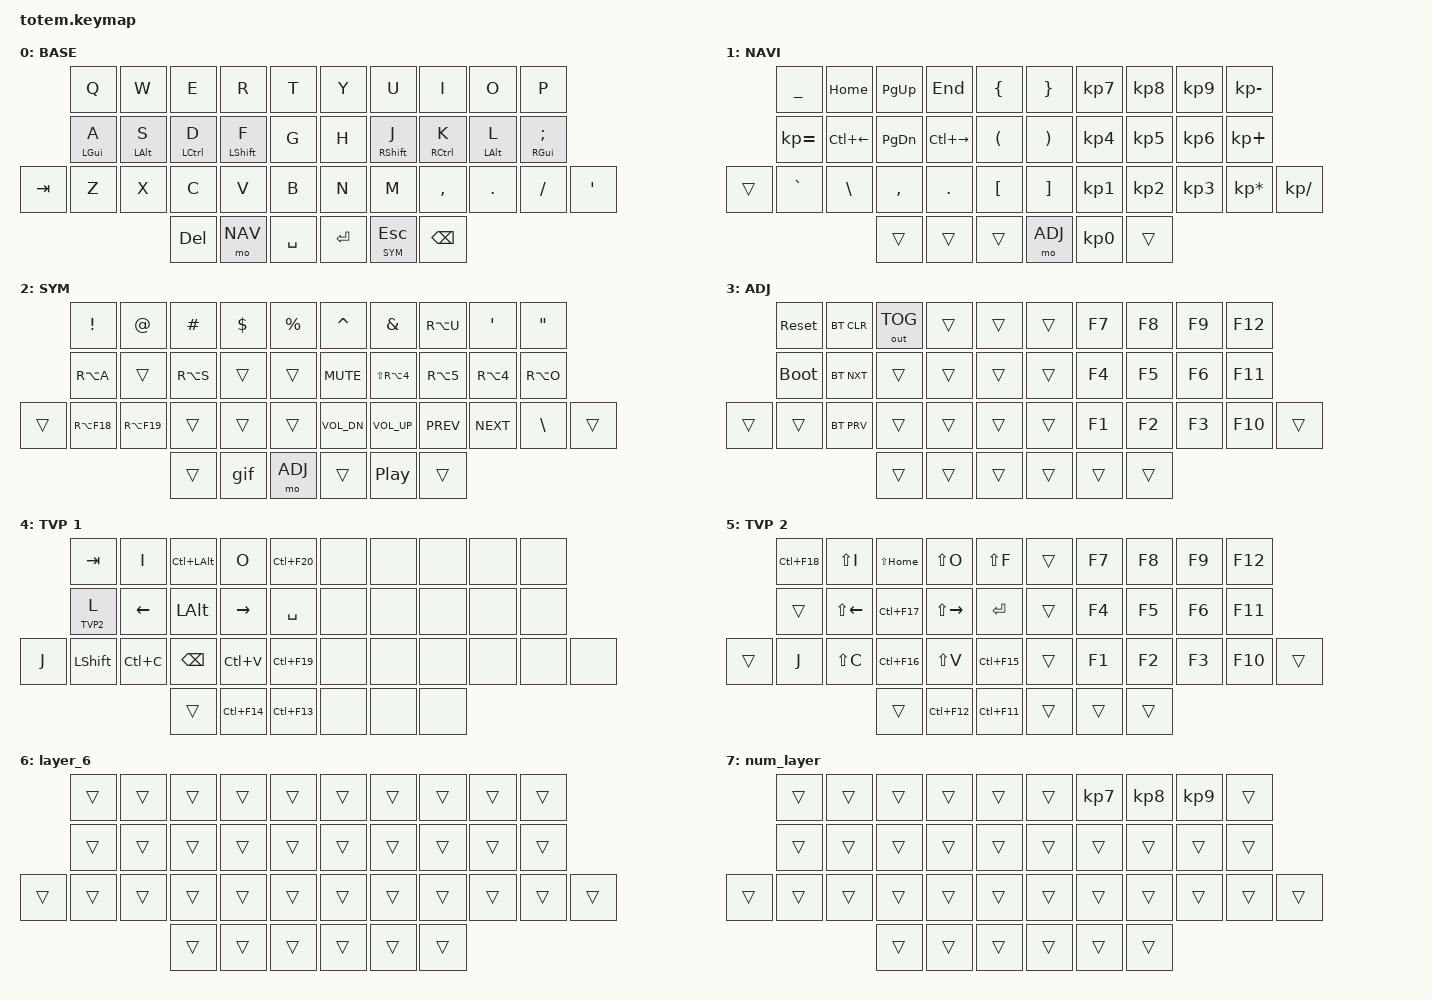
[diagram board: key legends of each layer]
//
//                                                        ▀▀▀▀▀     ▀▀▀▀▀          ▀▀█▀▀
//                                                        ▄▀▀▀▄  ▄  ▄▀▀▀▄  ▄  ▄▀▀▀▄  █  ▄▀▀▀▄
//                                                        █   █  █  █   █  █  █   █  █  █   █
//                                                         ▀▀▀   █   ▀▀▀   █   ▀▀▀   ▀   ▀▀▀
//                                                               █      ▄▄▄█▄▄▄    █   █  
//                                                               ▀      █  █  █     █▄█
//                                                             ▀▀▀▀▀    █  █  █      ▀
//                                                                      ▀  ▀  ▀
//
// ▄▄▄▄▄▄▄▄▄▄▄▄▄▄▄▄▄▄▄▄▄▄▄▄▄▄▄▄▄▄▄▄▄▄▄▄▄▄▄▄▄▄▄▄▄▄▄▄▄▄▄▄▄▄▄▄▄▄▄▄▄▄▄▄▄▄▄▄▄▄▄▄▄▄▄▄▄▄▄▄▄▄▄▄▄▄▄▄▄▄▄▄▄▄▄▄▄▄▄▄▄▄▄▄▄▄▄▄▄▄▄▄▄▄▄▄▄▄▄▄▄▄▄▄▄▄▄▄▄▄▄▄▄▄▄▄▄▄▄▄▄▄▄▄▄▄▄▄▄

#include <behaviors.dtsi>
#include <dt-bindings/zmk/bt.h>
#include <dt-bindings/zmk/keys.h>
#include <dt-bindings/zmk/outputs.h>

#define BASE 0
#define NAV  1
#define SYM  2
#define ADJ  3
#define TVP1 4
#define TVP2 5

&mt {
    quick-tap-ms = <100>;
    global-quick-tap;
    flavor = "tap-preferred";
    tapping-term-ms = <170>;
};

/ {
    combos {
        compatible = "zmk,combos";

        combo_esc {
            timeout-ms = <50>;
            key-positions = <11 12 13>;
            bindings = <&kp ESC>;
        };

        combo_ret {
            bindings = <&kp RET>;
            key-positions = <16 17 18>;
            timeout-ms = <50>;
        };

        combo_del {
            bindings = <&kp DELETE>;
            key-positions = <1 2 3>;
            timeout-ms = <50>;
        };
    };

    macros {
        gif: gif {
            label = "giphy";
            compatible = "zmk,behavior-macro";
            #binding-cells = <0>;
            bindings =
                <&macro_press>,
                <&kp LSHFT>,
                <&macro_tap>,
                <&kp N2>,
                <&macro_release>,
                <&kp LSHFT>,
                <&macro_tap>,
                <&kp G &kp I &kp F>;
        };
    };

    keymap {
        compatible = "zmk,keymap";

        // ▄▄▄▄▄▄▄▄▄▄▄▄▄▄▄▄▄▄▄▄▄▄▄▄▄▄▄▄▄▄▄▄▄▄▄▄▄▄▄▄▄▄▄▄▄▄▄▄▄▄▄▄▄▄▄▄▄▄▄▄▄▄▄▄▄▄▄▄▄▄▄▄▄▄▄▄▄▄▄▄▄▄▄▄▄▄▄▄▄▄▄▄▄▄▄▄▄▄▄▄▄▄▄▄▄▄▄▄▄▄▄▄▄▄▄▄▄▄▄▄▄▄▄▄▄▄▄▄▄▄▄▄▄▄▄▄▄▄▄▄▄▄▄▄▄▄▄▄▄

        base_layer {
            // ┏━━━━━━━━━━━━━━━━━━━━━━━━━━━━━━━━━━━━━━━┓

            label = "BASE";

            // ┗━━━━━━━━━━━━━━━━━━━━━━━━━━━━━━━━━━━━━━━┛
            //             ┏━━━━━━━━━━━┳━━━━━━━━━━━┳━━━━━━━━━━━┳━━━━━━━━━━━┳━━━━━━━━━━━┓   ┏━━━━━━━━━━━┳━━━━━━━━━━━┳━━━━━━━━━━━┳━━━━━━━━━━━┳━━━━━━━━━━━┓
            //             ┃     Q     ┃     W     ┃     F     ┃     P     ┃     G     ┃   ┃     J     ┃     L     ┃     U     ┃     Y     ┃     ;     ┃
            //             ┣━━━━━━━━━━━╋━━━━━━━━━━━╋━━━━━━━━━━━╋━━━━━━━━━━━╋━━━━━━━━━━━┫   ┣━━━━━━━━━━━╋━━━━━━━━━━━╋━━━━━━━━━━━╋━━━━━━━━━━━╋━━━━━━━━━━━┫
            //             ┃     A     ┃     R     ┃     S     ┃     T     ┃     D     ┃   ┃     H     ┃     N     ┃     E     ┃     I     ┃     O     ┃
            // ┏━━━━━━━━━━━╋━━━━━━━━━━━╋━━━━━━━━━━━╋━━━━━━━━━━━╋━━━━━━━━━━━╋━━━━━━━━━━━┫   ┣━━━━━━━━━━━╋━━━━━━━━━━━╋━━━━━━━━━━━╋━━━━━━━━━━━╋━━━━━━━━━━━╋━━━━━━━━━━━┓
            // ┃     Q     ┃     Z     ┃     X     ┃     C     ┃     V     ┃     B     ┃   ┃     K     ┃     M     ┃     ,     ┃     .     ┃     /     ┃     \     ┃
            // ┗━━━━━━━━━━━┻━━━━━━━━━━━┻━━━━━━━━━━━╋━━━━━━━━━━━╋━━━━━━━━━━━╋━━━━━━━━━━━┫   ┣━━━━━━━━━━━╋━━━━━━━━━━━╋━━━━━━━━━━━╋━━━━━━━━━━━┻━━━━━━━━━━━┻━━━━━━━━━━━┛
            //                                     ┃    DEL    ┃    TAB    ┃    SPC    ┃   ┃   ENTER   ┃           ┃   BSPC    ┃
            //                                     ┗━━━━━━━━━━━┻━━━━━━━━━━━┻━━━━━━━━━━━┛   ┗━━━━━━━━━━━┻━━━━━━━━━━━┻━━━━━━━━━━━┛

            bindings = <
         &kp Q       &kp W       &kp E        &kp R        &kp T        &kp Y    &kp U        &kp I        &kp O           &kp P
         &mt LGUI A  &mt LALT S  &mt LCTRL D  &mt LSHFT F  &kp G        &kp H    &mt RSHFT J  &mt RCTRL K  &mt LEFT_ALT L  &mt RGUI SEMICOLON
&kp TAB  &kp Z       &kp X       &kp C        &kp V        &kp B        &kp N    &kp M        &kp COMMA    &kp DOT         &kp FSLH            &kp APOS
                                 &kp DEL      &mo NAV      &kp SPACE    &kp RET  &lt SYM ESC  &kp BSPC
            >;
        };

        // ▄▄▄▄▄▄▄▄▄▄▄▄▄▄▄▄▄▄▄▄▄▄▄▄▄▄▄▄▄▄▄▄▄▄▄▄▄▄▄▄▄▄▄▄▄▄▄▄▄▄▄▄▄▄▄▄▄▄▄▄▄▄▄▄▄▄▄▄▄▄▄▄▄▄▄▄▄▄▄▄▄▄▄▄▄▄▄▄▄▄▄▄▄▄▄▄▄▄▄▄▄▄▄▄▄▄▄▄▄▄▄▄▄▄▄▄▄▄▄▄▄▄▄▄▄▄▄▄▄▄▄▄▄▄▄▄▄▄▄▄▄▄▄▄▄▄▄▄▄

        nav_layer {
            // ┏━━━━━━━━━━━━━━━━━━━━━━━━━━━━━━━━━━━━━━━┓

            label = "NAVI";

            // ┗━━━━━━━━━━━━━━━━━━━━━━━━━━━━━━━━━━━━━━━┛
            //             ┏━━━━━━━━━━━┳━━━━━━━━━━━┳━━━━━━━━━━━┳━━━━━━━━━━━┳━━━━━━━━━━━┓   ┏━━━━━━━━━━━┳━━━━━━━━━━━┳━━━━━━━━━━━┳━━━━━━━━━━━┳━━━━━━━━━━━┓
            //             ┃           ┃           ┃     UP    ┃           ┃     {     ┃   ┃     }     ┃     7     ┃     8     ┃     9     ┃     +     ┃
            //             ┣━━━━━━━━━━━╋━━━━━━━━━━━╋━━━━━━━━━━━╋━━━━━━━━━━━╋━━━━━━━━━━━┫   ┣━━━━━━━━━━━╋━━━━━━━━━━━╋━━━━━━━━━━━╋━━━━━━━━━━━╋━━━━━━━━━━━┫
            //             ┃   SHIFT   ┃   LEFT    ┃    DOWN   ┃   RIGHT   ┃     [     ┃   ┃     ]     ┃     4     ┃     5     ┃     6     ┃     -     ┃
            // ┏━━━━━━━━━━━╋━━━━━━━━━━━╋━━━━━━━━━━━╋━━━━━━━━━━━╋━━━━━━━━━━━╋━━━━━━━━━━━┫   ┣━━━━━━━━━━━╋━━━━━━━━━━━╋━━━━━━━━━━━╋━━━━━━━━━━━╋━━━━━━━━━━━╋━━━━━━━━━━━┓
            // ┃           ┃           ┃   P UP    ┃  C LOCK   ┃  P DOWN   ┃     (     ┃   ┃     )     ┃     1     ┃     2     ┃     3     ┃     *     ┃           ┃
            // ┗━━━━━━━━━━━┻━━━━━━━━━━━┻━━━━━━━━━━━╋━━━━━━━━━━━╋━━━━━━━━━━━╋━━━━━━━━━━━┫   ┣━━━━━━━━━━━╋━━━━━━━━━━━╋━━━━━━━━━━━╋━━━━━━━━━━━┻━━━━━━━━━━━┻━━━━━━━━━━━┛
            //                                     ┃           ┃    TAB    ┃    SPC    ┃   ┃    DEL    ┃     0     ┃           ┃
            //                                     ┗━━━━━━━━━━━┻━━━━━━━━━━━┻━━━━━━━━━━━┛   ┗━━━━━━━━━━━┻━━━━━━━━━━━┻━━━━━━━━━━━┛

            bindings = <
        &kp UNDER     &kp HOME       &kp PAGE_UP    &kp END        &kp LBRC            &kp RBRC           &kp KP_N7  &kp KP_N8  &kp KP_N9  &kp KP_MINUS
        &kp KP_EQUAL  &kp LC(LEFT)   &kp PAGE_DOWN  &kp LC(RIGHT)  &kp LPAR            &kp RPAR           &kp KP_N4  &kp KP_N5  &kp KP_N6  &kp KP_PLUS
&trans  &kp GRAVE     &kp BACKSLASH  &kp COMMA      &kp DOT        &kp LEFT_BRACKET    &kp RIGHT_BRACKET  &kp KP_N1  &kp KP_N2  &kp KP_N3  &kp KP_MULTIPLY  &kp KP_DIVIDE
                                     &trans         &trans         &trans              &mo ADJ            &kp KP_N0  &trans
            >;
        };

        // ▄▄▄▄▄▄▄▄▄▄▄▄▄▄▄▄▄▄▄▄▄▄▄▄▄▄▄▄▄▄▄▄▄▄▄▄▄▄▄▄▄▄▄▄▄▄▄▄▄▄▄▄▄▄▄▄▄▄▄▄▄▄▄▄▄▄▄▄▄▄▄▄▄▄▄▄▄▄▄▄▄▄▄▄▄▄▄▄▄▄▄▄▄▄▄▄▄▄▄▄▄▄▄▄▄▄▄▄▄▄▄▄▄▄▄▄▄▄▄▄▄▄▄▄▄▄▄▄▄▄▄▄▄▄▄▄▄▄▄▄▄▄▄▄▄▄▄▄▄

        sym_layer {
            // ┏━━━━━━━━━━━━━━━━━━━━━━━━━━━━━━━━━━━━━━━┓

            label = "SYM";

            // ┗━━━━━━━━━━━━━━━━━━━━━━━━━━━━━━━━━━━━━━━┛
            //             ┏━━━━━━━━━━━┳━━━━━━━━━━━┳━━━━━━━━━━━┳━━━━━━━━━━━┳━━━━━━━━━━━┓   ┏━━━━━━━━━━━┳━━━━━━━━━━━┳━━━━━━━━━━━┳━━━━━━━━━━━┳━━━━━━━━━━━┓
            //             ┃     !     ┃     @     ┃     #     ┃     $     ┃     %     ┃   ┃     ˆ     ┃     &     ┃     Ü     ┃     '     ┃     "     ┃
            //             ┣━━━━━━━━━━━╋━━━━━━━━━━━╋━━━━━━━━━━━╋━━━━━━━━━━━╋━━━━━━━━━━━┫   ┣━━━━━━━━━━━╋━━━━━━━━━━━╋━━━━━━━━━━━╋━━━━━━━━━━━╋━━━━━━━━━━━┫
            //             ┃     Ä     ┃           ┃    SZ     ┃           ┃           ┃   ┃   MUTE    ┃   YEN     ┃   EURO    ┃  POUND    ┃     Ö     ┃
            // ┏━━━━━━━━━━━╋━━━━━━━━━━━╋━━━━━━━━━━━╋━━━━━━━━━━━╋━━━━━━━━━━━╋━━━━━━━━━━━┫   ┣━━━━━━━━━━━╋━━━━━━━━━━━╋━━━━━━━━━━━╋━━━━━━━━━━━╋━━━━━━━━━━━╋━━━━━━━━━━━┓
            // ┃           ┃  EMAIL1   ┃  EMAIL2   ┃           ┃           ┃           ┃   ┃   VOL-    ┃   VOL+    ┃   LAST    ┃   NEXT    ┃     \     ┃           ┃
            // ┗━━━━━━━━━━━┻━━━━━━━━━━━┻━━━━━━━━━━━╋━━━━━━━━━━━╋━━━━━━━━━━━╋━━━━━━━━━━━┫   ┣━━━━━━━━━━━╋━━━━━━━━━━━╋━━━━━━━━━━━╋━━━━━━━━━━━┻━━━━━━━━━━━┻━━━━━━━━━━━┛
            //                                     ┃           ┃    GIF    ┃    ADJ    ┃   ┃           ┃           ┃           ┃
            //                                     ┗━━━━━━━━━━━┻━━━━━━━━━━━┻━━━━━━━━━━━┛   ┗━━━━━━━━━━━┻━━━━━━━━━━━┻━━━━━━━━━━━┛

            bindings = <
        &kp EXCL     &kp AT       &kp HASH   &kp DLLR  &kp PRCNT    &kp CARET     &kp AMPS        &kp RA(U)   &kp SQT     &kp DQT
        &kp RA(A)    &trans       &kp RA(S)  &trans    &trans       &kp C_MUTE    &kp LS(RA(N4))  &kp RA(N5)  &kp RA(N4)  &kp RA(O)
&trans  &kp RA(F18)  &kp RA(F19)  &trans     &trans    &trans       &kp C_VOL_DN  &kp C_VOL_UP    &kp C_PREV  &kp C_NEXT  &kp BSLH   &trans
                                  &trans     &gif      &mo ADJ      &trans        &kp C_PP        &trans
            >;
        };

        // ▄▄▄▄▄▄▄▄▄▄▄▄▄▄▄▄▄▄▄▄▄▄▄▄▄▄▄▄▄▄▄▄▄▄▄▄▄▄▄▄▄▄▄▄▄▄▄▄▄▄▄▄▄▄▄▄▄▄▄▄▄▄▄▄▄▄▄▄▄▄▄▄▄▄▄▄▄▄▄▄▄▄▄▄▄▄▄▄▄▄▄▄▄▄▄▄▄▄▄▄▄▄▄▄▄▄▄▄▄▄▄▄▄▄▄▄▄▄▄▄▄▄▄▄▄▄▄▄▄▄▄▄▄▄▄▄▄▄▄▄▄▄▄▄▄▄▄▄▄

        adjust_layer {
            // ┏━━━━━━━━━━━━━━━━━━━━━━━━━━━━━━━━━━━━━━━┓

            label = "ADJ";

            // ┗━━━━━━━━━━━━━━━━━━━━━━━━━━━━━━━━━━━━━━━┛
            //             ┏━━━━━━━━━━━┳━━━━━━━━━━━┳━━━━━━━━━━━┳━━━━━━━━━━━┳━━━━━━━━━━━┓   ┏━━━━━━━━━━━┳━━━━━━━━━━━┳━━━━━━━━━━━┳━━━━━━━━━━━┳━━━━━━━━━━━┓
            //             ┃   RESET   ┃ BT CLEAR  ┃  OUT TOG  ┃           ┃           ┃   ┃           ┃    F7     ┃    F8     ┃    F9     ┃    F12    ┃
            //             ┣━━━━━━━━━━━╋━━━━━━━━━━━╋━━━━━━━━━━━╋━━━━━━━━━━━╋━━━━━━━━━━━┫   ┣━━━━━━━━━━━╋━━━━━━━━━━━╋━━━━━━━━━━━╋━━━━━━━━━━━╋━━━━━━━━━━━┫
            //             ┃ BOOTLOAD  ┃ BT NEXT   ┃           ┃           ┃           ┃   ┃           ┃    F4     ┃    F5     ┃    F6     ┃    F11    ┃
            // ┏━━━━━━━━━━━╋━━━━━━━━━━━╋━━━━━━━━━━━╋━━━━━━━━━━━╋━━━━━━━━━━━╋━━━━━━━━━━━┫   ┣━━━━━━━━━━━╋━━━━━━━━━━━╋━━━━━━━━━━━╋━━━━━━━━━━━╋━━━━━━━━━━━╋━━━━━━━━━━━┓
            // ┃           ┃           ┃ BT PREV   ┃           ┃           ┃           ┃   ┃           ┃    F1     ┃    F2     ┃    F3     ┃    F10    ┃           ┃
            // ┗━━━━━━━━━━━┻━━━━━━━━━━━┻━━━━━━━━━━━╋━━━━━━━━━━━╋━━━━━━━━━━━╋━━━━━━━━━━━┫   ┣━━━━━━━━━━━╋━━━━━━━━━━━╋━━━━━━━━━━━╋━━━━━━━━━━━┻━━━━━━━━━━━┻━━━━━━━━━━━┛
            //                                     ┃           ┃           ┃           ┃   ┃           ┃           ┃           ┃
            //                                     ┗━━━━━━━━━━━┻━━━━━━━━━━━┻━━━━━━━━━━━┛   ┗━━━━━━━━━━━┻━━━━━━━━━━━┻━━━━━━━━━━━┛

            bindings = <
        &sys_reset   &bt BT_CLR  &out OUT_TOG  &trans  &trans    &trans  &kp F7  &kp F8  &kp F9  &kp F12
        &bootloader  &bt BT_NXT  &trans        &trans  &trans    &trans  &kp F4  &kp F5  &kp F6  &kp F11
&trans  &trans       &bt BT_PRV  &trans        &trans  &trans    &trans  &kp F1  &kp F2  &kp F3  &kp F10  &trans
                                 &trans        &trans  &trans    &trans  &trans  &trans
            >;
        };

        // ▄▄▄▄▄▄▄▄▄▄▄▄▄▄▄▄▄▄▄▄▄▄▄▄▄▄▄▄▄▄▄▄▄▄▄▄▄▄▄▄▄▄▄▄▄▄▄▄▄▄▄▄▄▄▄▄▄▄▄▄▄▄▄▄▄▄▄▄▄▄▄▄▄▄▄▄▄▄▄▄▄▄▄▄▄▄▄▄▄▄▄▄▄▄▄▄▄▄▄▄▄▄▄▄▄▄▄▄▄▄▄▄▄▄▄▄▄▄▄▄▄▄▄▄▄▄▄▄▄▄▄▄▄▄▄▄▄▄▄▄▄▄▄▄▄▄▄▄▄

        tvp1_layer {
            // ┏━━━━━━━━━━━━━━━━━━━━━━━━━━━━━━━━━━━━━━━┓

            label = "TVP 1";

            // ┗━━━━━━━━━━━━━━━━━━━━━━━━━━━━━━━━━━━━━━━┛
            //             ┏━━━━━━━━━━━┳━━━━━━━━━━━┳━━━━━━━━━━━┳━━━━━━━━━━━┳━━━━━━━━━━━┓   ┏━━━━━━━━━━━┳━━━━━━━━━━━┳━━━━━━━━━━━┳━━━━━━━━━━━┳━━━━━━━━━━━┓
            //             ┃ NEXT FILE ┃ MARK IN   ┃ ROTATE    ┃ MARK OUT  ┃ SHOW SNAP ┃   ┃           ┃           ┃           ┃           ┃           ┃
            //             ┣━━━━━━━━━━━╋━━━━━━━━━━━╋━━━━━━━━━━━╋━━━━━━━━━━━╋━━━━━━━━━━━┫   ┣━━━━━━━━━━━╋━━━━━━━━━━━╋━━━━━━━━━━━╋━━━━━━━━━━━╋━━━━━━━━━━━┫
            //             ┃ TVP II    ┃ LEFT      ┃ PAN       ┃ RIGHT     ┃ PLAY/FLIP ┃   ┃           ┃           ┃           ┃           ┃           ┃
            // ┏━━━━━━━━━━━╋━━━━━━━━━━━╋━━━━━━━━━━━╋━━━━━━━━━━━╋━━━━━━━━━━━╋━━━━━━━━━━━┫   ┣━━━━━━━━━━━╋━━━━━━━━━━━╋━━━━━━━━━━━╋━━━━━━━━━━━╋━━━━━━━━━━━╋━━━━━━━━━━━┓
            // ┃ FULLSCR   ┃ SHIFT     ┃ COPY      ┃ DELETE    ┃ PASTE     ┃ IMG MARK  ┃   ┃           ┃           ┃           ┃           ┃           ┃           ┃
            // ┗━━━━━━━━━━━┻━━━━━━━━━━━┻━━━━━━━━━━━╋━━━━━━━━━━━╋━━━━━━━━━━━╋━━━━━━━━━━━┫   ┣━━━━━━━━━━━╋━━━━━━━━━━━╋━━━━━━━━━━━╋━━━━━━━━━━━┻━━━━━━━━━━━┻━━━━━━━━━━━┛
            //                                     ┃           ┃ UNDO/SAVE ┃  SEL/MOV  ┃   ┃           ┃           ┃           ┃
            //                                     ┗━━━━━━━━━━━┻━━━━━━━━━━━┻━━━━━━━━━━━┛   ┗━━━━━━━━━━━┻━━━━━━━━━━━┻━━━━━━━━━━━┛

            bindings = <
       &kp TAB     &kp I      &kp LC(LALT)  &kp O        &kp LC(F20)    &none  &none  &none  &none  &none
       &lt TVP2 L  &kp LEFT   &kp LALT      &kp RIGHT    &kp SPACE      &none  &none  &none  &none  &none
&kp J  &kp LSHFT   &kp LC(C)  &kp BSPC      &kp LC(V)    &kp LC(F19)    &none  &none  &none  &none  &none  &none
                              &trans        &kp LC(F14)  &kp LC(F13)    &none  &none  &none
            >;
        };

        // ▄▄▄▄▄▄▄▄▄▄▄▄▄▄▄▄▄▄▄▄▄▄▄▄▄▄▄▄▄▄▄▄▄▄▄▄▄▄▄▄▄▄▄▄▄▄▄▄▄▄▄▄▄▄▄▄▄▄▄▄▄▄▄▄▄▄▄▄▄▄▄▄▄▄▄▄▄▄▄▄▄▄▄▄▄▄▄▄▄▄▄▄▄▄▄▄▄▄▄▄▄▄▄▄▄▄▄▄▄▄▄▄▄▄▄▄▄▄▄▄▄▄▄▄▄▄▄▄▄▄▄▄▄▄▄▄▄▄▄▄▄▄▄▄▄▄▄▄▄

        tvp2_layer {
            // ┏━━━━━━━━━━━━━━━━━━━━━━━━━━━━━━━━━━━━━━━┓

            label = "TVP 2";

            // ┗━━━━━━━━━━━━━━━━━━━━━━━━━━━━━━━━━━━━━━━┛
            //             ┏━━━━━━━━━━━┳━━━━━━━━━━━┳━━━━━━━━━━━┳━━━━━━━━━━━┳━━━━━━━━━━━┓   ┏━━━━━━━━━━━┳━━━━━━━━━━━┳━━━━━━━━━━━┳━━━━━━━━━━━┳━━━━━━━━━━━┓
            //             ┃ SOLO      ┃ TOGGLE IN ┃ RESET ROT ┃ TOGGLE OUT┃ TAKE SNAP ┃   ┃           ┃           ┃           ┃           ┃           ┃
            //             ┣━━━━━━━━━━━╋━━━━━━━━━━━╋━━━━━━━━━━━╋━━━━━━━━━━━╋━━━━━━━━━━━┫   ┣━━━━━━━━━━━╋━━━━━━━━━━━╋━━━━━━━━━━━╋━━━━━━━━━━━╋━━━━━━━━━━━┫
            //             ┃ ---       ┃ LAST KEY  ┃ NEW KEY   ┃ NEXT KEY  ┃ ENTER     ┃   ┃           ┃           ┃           ┃           ┃           ┃
            // ┏━━━━━━━━━━━╋━━━━━━━━━━━╋━━━━━━━━━━━╋━━━━━━━━━━━╋━━━━━━━━━━━╋━━━━━━━━━━━┫   ┣━━━━━━━━━━━╋━━━━━━━━━━━╋━━━━━━━━━━━╋━━━━━━━━━━━╋━━━━━━━━━━━╋━━━━━━━━━━━┓
            // ┃           ┃ FULLSCR   ┃ CPY2BRUSH ┃ DEL HEAD  ┃ PSTinPLACE┃ BOOK MARK ┃   ┃           ┃           ┃           ┃           ┃           ┃           ┃
            // ┗━━━━━━━━━━━┻━━━━━━━━━━━┻━━━━━━━━━━━╋━━━━━━━━━━━╋━━━━━━━━━━━╋━━━━━━━━━━━┫   ┣━━━━━━━━━━━╋━━━━━━━━━━━╋━━━━━━━━━━━╋━━━━━━━━━━━┻━━━━━━━━━━━┻━━━━━━━━━━━┛
            //                                     ┃           ┃ REDO/SAV1 ┃TRANS/WARP ┃   ┃           ┃           ┃           ┃
            //                                     ┗━━━━━━━━━━━┻━━━━━━━━━━━┻━━━━━━━━━━━┛   ┗━━━━━━━━━━━┻━━━━━━━━━━━┻━━━━━━━━━━━┛

            bindings = <
        &kp LC(F18)  &kp LS(I)     &kp LS(HOME)  &kp LS(O)      &kp LS(F)      &trans  &kp F7  &kp F8  &kp F9  &kp F12
        &trans       &kp LS(LEFT)  &kp LC(F17)   &kp LS(RIGHT)  &kp RET        &trans  &kp F4  &kp F5  &kp F6  &kp F11
&trans  &kp J        &kp LS(C)     &kp LC(F16)   &kp LS(V)      &kp LC(F15)    &trans  &kp F1  &kp F2  &kp F3  &kp F10  &trans
                                   &trans        &kp LC(F12)    &kp LC(F11)    &trans  &trans  &trans
            >;
        };

        layer_6 {
            bindings = <
        &trans  &trans  &trans  &trans  &trans    &trans  &trans  &trans  &trans  &trans
        &trans  &trans  &trans  &trans  &trans    &trans  &trans  &trans  &trans  &trans
&trans  &trans  &trans  &trans  &trans  &trans    &trans  &trans  &trans  &trans  &trans  &trans
                        &trans  &trans  &trans    &trans  &trans  &trans
            >;
        };

        num_layer {
            bindings = <
        &trans  &trans  &trans  &trans  &trans    &trans  &kp KP_NUMBER_7  &kp KP_NUMBER_8  &kp KP_NUMBER_9  &trans
        &trans  &trans  &trans  &trans  &trans    &trans  &trans           &trans           &trans           &trans
&trans  &trans  &trans  &trans  &trans  &trans    &trans  &trans           &trans           &trans           &trans  &trans
                        &trans  &trans  &trans    &trans  &trans           &trans
            >;
        };
    };
};
